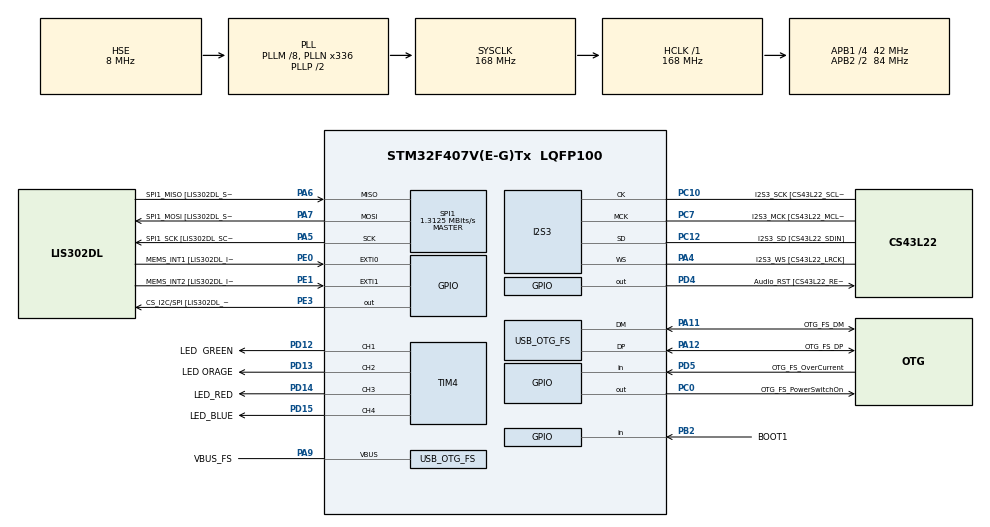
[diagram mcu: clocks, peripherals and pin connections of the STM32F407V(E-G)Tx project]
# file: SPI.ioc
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I2S3.AudioFreq-Half_Duplex_Master=I2S_AUDIOFREQ_96K
I2S3.ErrorAudioFreq=-2.34 %
I2S3.ErrorAudioFreq-Half_Duplex_Master=0.8 %
I2S3.FullDuplexMode=I2S_FULLDUPLEXMODE_DISABLE
I2S3.Instance=SPI$Index
I2S3.RealAudioFreq=93.75 KHz
I2S3.RealAudioFreq-Half_Duplex_Master=96.774 KHz
I2S3.VirtualMode=I2S_MODE_MASTER
Mcu.Family=STM32F4
Mcu.Name=STM32F407V(E-G)Tx
Mcu.Package=LQFP100
NVIC.EXTI0_IRQn=true\:0\:0\:false\:false\:true\:true\:true\:true
NVIC.EXTI1_IRQn=true\:0\:0\:false\:false\:true\:true\:true\:true
NVIC.OTG_FS_IRQn=true\:0\:0\:false\:false\:true\:true\:true\:true
NVIC.PriorityGroup=NVIC_PRIORITYGROUP_0
PA10.GPIO_Label=OTG_FS_ID
PA10.GPIO_Mode=GPIO_MODE_AF_PP
PA10.GPIO_PuPd=GPIO_NOPULL
PA10.GPIO_Speed=GPIO_SPEED_FREQ_LOW
PA10.Signal=USB_OTG_FS_ID
PA11.GPIO_Label=OTG_FS_DM
PA11.GPIO_Mode=GPIO_MODE_AF_PP
PA11.GPIO_PuPd=GPIO_NOPULL
PA11.GPIO_Speed=GPIO_SPEED_FREQ_LOW
PA11.Mode=Host_Only
PA11.Signal=USB_OTG_FS_DM
PA12.GPIO_Label=OTG_FS_DP
PA12.GPIO_Mode=GPIO_MODE_AF_PP
PA12.GPIO_PuPd=GPIO_NOPULL
PA12.GPIO_Speed=GPIO_SPEED_FREQ_LOW
PA12.Mode=Host_Only
PA12.Signal=USB_OTG_FS_DP
PA13.GPIO_Label=SWDIO
PA13.Mode=Serial_Wire
PA13.Signal=SYS_JTMS-SWDIO
PA14.GPIO_Label=SWCLK
PA14.Mode=Serial_Wire
PA14.Signal=SYS_JTCK-SWCLK
PA4.GPIO_Label=I2S3_WS [CS43L22_LRCK]
PA4.GPIO_Mode=GPIO_MODE_AF_PP
PA4.GPIO_PuPd=GPIO_NOPULL
PA4.GPIO_Speed=GPIO_SPEED_FREQ_LOW
PA4.Mode=Half_Duplex_Master
PA4.Signal=I2S3_WS
PA5.GPIO_Label=SPI1_SCK [LIS302DL_SCL/SPC]
PA5.GPIO_Mode=GPIO_MODE_AF_PP
PA5.GPIO_PuPd=GPIO_NOPULL
PA5.GPIO_Speed=GPIO_SPEED_FREQ_VERY_HIGH
PA5.Mode=Full_Duplex_Master
PA5.Signal=SPI1_SCK
PA6.GPIO_Label=SPI1_MISO [LIS302DL_SDO]
PA6.GPIO_Mode=GPIO_MODE_AF_PP
PA6.GPIO_PuPd=GPIO_NOPULL
PA6.GPIO_Speed=GPIO_SPEED_FREQ_LOW
PA6.Mode=Full_Duplex_Master
PA6.Signal=SPI1_MISO
PA7.GPIO_Label=SPI1_MOSI [LIS302DL_SDA/SDI/SDO]
PA7.GPIO_Mode=GPIO_MODE_AF_PP
PA7.GPIO_PuPd=GPIO_NOPULL
PA7.GPIO_Speed=GPIO_SPEED_FREQ_LOW
PA7.Mode=Full_Duplex_Master
PA7.Signal=SPI1_MOSI
PA9.GPIO_Label=VBUS_FS
PA9.GPIO_Mode=GPIO_MODE_INPUT
PA9.GPIO_PuPd=GPIO_NOPULL
PA9.Mode=Activate_VBUS
PA9.Signal=USB_OTG_FS_VBUS
PB10.GPIO_Label=CLK_IN [MP45DT02_CLK]
PB10.GPIO_Mode=GPIO_MODE_AF_PP
PB10.GPIO_PuPd=GPIO_NOPULL
PB10.GPIO_Speed=GPIO_SPEED_FREQ_LOW
PB10.Signal=I2S2_CK
PB2.GPIO_Label=BOOT1
PB2.GPIO_Mode=GPIO_MODE_INPUT
PB2.GPIO_PuPd=GPIO_NOPULL
PB2.Signal=GPIO_Input
PB3.GPIO_Label=SWO
PB3.Signal=SYS_JTDO-SWO
PB6.GPIO_Label=Audio_SCL [CS43L22_SCL]
PB6.GPIO_Mode=GPIO_MODE_AF_OD
PB6.GPIO_Pu=GPIO_PULLUP
PB6.GPIO_PuPd=GPIO_NOPULL
PB6.GPIO_Speed=GPIO_SPEED_FREQ_LOW
PB6.Signal=I2C1_SCL
PB9.GPIO_Label=Audio_SDA [CS43L22_SDA]
PB9.GPIO_Mode=GPIO_MODE_AF_OD
PB9.GPIO_Pu=GPIO_PULLUP
PB9.GPIO_PuPd=GPIO_NOPULL
PB9.GPIO_Speed=GPIO_SPEED_FREQ_LOW
PB9.Signal=I2C1_SDA
PC0.GPIO_Label=OTG_FS_PowerSwitchOn
PC0.GPIO_PuPd=GPIO_NOPULL
PC0.GPIO_Speed=GPIO_SPEED_FREQ_LOW
PC0.PinState=GPIO_PIN_SET
PC0.Signal=GPIO_Output
PC10.GPIO_Label=I2S3_SCK [CS43L22_SCLK]
PC10.GPIO_Mode=GPIO_MODE_AF_PP
PC10.GPIO_PuPd=GPIO_NOPULL
PC10.GPIO_Speed=GPIO_SPEED_FREQ_LOW
PC10.Mode=Half_Duplex_Master
PC10.Signal=I2S3_CK
PC12.GPIO_Label=I2S3_SD [CS43L22_SDIN]
PC12.GPIO_Mode=GPIO_MODE_AF_PP
PC12.GPIO_PuPd=GPIO_NOPULL
PC12.GPIO_Speed=GPIO_SPEED_FREQ_LOW
PC12.Mode=Half_Duplex_Master
PC12.Signal=I2S3_SD
PC14-OSC32_IN.GPIO_Label=PC14-OSC32_IN
PC14-OSC32_IN.Mode=LSE-External-Oscillator
PC14-OSC32_IN.Signal=RCC_OSC32_IN
PC15-OSC32_OUT.GPIO_Label=PC15-OSC32_OUT
PC15-OSC32_OUT.Mode=LSE-External-Oscillator
PC15-OSC32_OUT.Signal=RCC_OSC32_OUT
PC3.GPIO_Label=PDM_OUT [MP45DT02_DOUT]
PC3.GPIO_Mode=GPIO_MODE_AF_PP
PC3.GPIO_PuPd=GPIO_NOPULL
PC3.GPIO_Speed=GPIO_SPEED_FREQ_LOW
PC3.Signal=I2S2_SD
PC7.GPIO_Label=I2S3_MCK [CS43L22_MCLK]
PC7.GPIO_Mode=GPIO_MODE_AF_PP
PC7.GPIO_PuPd=GPIO_NOPULL
PC7.GPIO_Speed=GPIO_SPEED_FREQ_LOW
PC7.Mode=Master_Clock_Activated
PC7.Signal=I2S3_MCK
PD12.GPIO_Label=LED  GREEN
PD12.Signal=S_TIM4_CH1
PD13.GPIO_Label=LED ORAGE
PD13.Signal=S_TIM4_CH2
PD14.GPIO_Label=LED_RED
PD14.Signal=S_TIM4_CH3
PD15.GPIO_Label=LED_BLUE
PD15.Signal=S_TIM4_CH4
PD4.GPIO_Label=Audio_RST [CS43L22_RESET]
PD4.GPIO_PuPd=GPIO_NOPULL
PD4.GPIO_Speed=GPIO_SPEED_FREQ_LOW
PD4.Signal=GPIO_Output
PD5.GPIO_Label=OTG_FS_OverCurrent
PD5.GPIO_Mode=GPIO_MODE_INPUT
PD5.GPIO_PuPd=GPIO_NOPULL
PD5.Signal=GPIO_Input
PE0.GPIO_Label=MEMS_INT1 [LIS302DL_INT1]
PE0.GPIO_ModeDefaultEXTI=GPIO_MODE_IT_RISING
PE0.Signal=GPXTI0
PE1.GPIO_Label=MEMS_INT2 [LIS302DL_INT2]
PE1.GPIO_ModeDefaultEXTI=GPIO_MODE_IT_RISING
PE1.GPIO_PuPd=GPIO_NOPULL
PE1.Signal=GPXTI1
PE3.GPIO_Label=CS_I2C/SPI [LIS302DL_CS_I2C/SPI]
PE3.GPIO_PuPd=GPIO_NOPULL
PE3.GPIO_Speed=GPIO_SPEED_FREQ_LOW
PE3.PinState=GPIO_PIN_SET
PE3.Signal=GPIO_Output
PH0-OSC_IN.GPIO_Label=PH0-OSC_IN
PH0-OSC_IN.Mode=HSE-External-Oscillator
PH0-OSC_IN.Signal=RCC_OSC_IN
PH1-OSC_OUT.GPIO_Label=PH1-OSC_OUT
PH1-OSC_OUT.Mode=HSE-External-Oscillator
PH1-OSC_OUT.Signal=RCC_OSC_OUT
ProjectManager.HeapSize=0x200
ProjectManager.StackSize=0x400
ProjectManager.TargetToolchain=CMake
RCC.48MHZClocksFreq_Value=48000000
RCC.AHBFreq_Value=168000000
RCC.APB1CLKDivider=RCC_HCLK_DIV4
RCC.APB1Freq_Value=42000000
RCC.APB1TimFreq_Value=84000000
RCC.APB2CLKDivider=RCC_HCLK_DIV2
RCC.APB2Freq_Value=84000000
RCC.APB2TimFreq_Value=168000000
RCC.CortexFreq_Value=168000000
RCC.HCLKFreq_Value=168000000
RCC.HSE_VALUE=8000000
RCC.HSI_VALUE=16000000
RCC.PLLM=8
RCC.PLLN=336
RCC.PLLQ=7
RCC.SYSCLKFreq_VALUE=168000000
RCC.SYSCLKSource=RCC_SYSCLKSOURCE_PLLCLK
RCC.VCOOutputFreq_Value=336000000
SH.S_TIM4_CH1.0=TIM4_CH1,PWM Generation1 CH1
SH.S_TIM4_CH2.0=TIM4_CH2,PWM Generation2 CH2
SH.S_TIM4_CH3.0=TIM4_CH3,PWM Generation3 CH3
SH.S_TIM4_CH4.0=TIM4_CH4,PWM Generation4 CH4
SPI1.BaudRatePrescaler=SPI_BAUDRATEPRESCALER_64
SPI1.BaudRatePrescaler-Full_Duplex_Master=SPI_BAUDRATEPRESCALER_2
SPI1.CLKPhase=SPI_PHASE_2EDGE
SPI1.CLKPolarity=SPI_POLARITY_HIGH
SPI1.CalculateBaudRate=1.3125 MBits/s
SPI1.CalculateBaudRate-Full_Duplex_Master=42.0 MBits/s
SPI1.Direction=SPI_DIRECTION_2LINES
SPI1.Mode=SPI_MODE_MASTER
SPI1.Mode-Full_Duplex_Master=SPI_MODE_MASTER
SPI1.VirtualType=VM_MASTER
TIM4.Channel-PWM\ Generation1\ CH1=TIM_CHANNEL_1
TIM4.Channel-PWM\ Generation2\ CH2=TIM_CHANNEL_2
TIM4.Channel-PWM\ Generation3\ CH3=TIM_CHANNEL_3
TIM4.Channel-PWM\ Generation4\ CH4=TIM_CHANNEL_4
USB_HOST.BSP.number=1
USB_HOST.USBH_HandleTypeDef-CDC_FS=hUsbHostFS
USB_HOST.VirtualModeFS=Cdc
USB_HOST0.BSP.STBoard=false
USB_HOST0.BSP.api=Unknown
USB_HOST0.BSP.instance=PC0
USB_HOST0.BSP.ip=GPIO
USB_HOST0.BSP.mode=Output
USB_HOST0.BSP.name=Drive_VBUS_FS
USB_HOST0.BSP.solution=PC0
USB_OTG_FS.VirtualMode=Host_Only
USB_OTG_FS.phy_itface=HCD_PHY_EMBEDDED
VP_TIM4_VS_ClockSourceINT.Mode=Internal
VP_USB_HOST_VS_USB_HOST_CDC_FS.Mode=CDC_FS
board=STM32F407G-DISC1

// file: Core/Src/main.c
/* USER CODE BEGIN Header */
/**
  ******************************************************************************
  * @file           : main.c
  * @brief          : Main program body
  ******************************************************************************
  * @attention
  *
  * Copyright (c) 2026 STMicroelectronics.
  * All rights reserved.
  *
  * This software is licensed under terms that can be found in the LICENSE file
  * in the root directory of this software component.
  * If no LICENSE file comes with this software, it is provided AS-IS.
  *
  ******************************************************************************
  */
/* USER CODE END Header */
#include "main.h"
#include "usb_host.h"

/* USER CODE BEGIN Includes */
#include "accelerometer_functions.h"
#include "LED/LED_interface.h"
#include "LIS3DSHTR_driver/LIS3DSHTR_Registers.h"
/* USER CODE END Includes */

I2S_HandleTypeDef hi2s3;

SPI_HandleTypeDef hspi1;

TIM_HandleTypeDef htim4;

void SystemClock_Config(void);
static void MX_GPIO_Init(void);
static void MX_I2S3_Init(void);
static void MX_SPI1_Init(void);
static void MX_TIM4_Init(void);
void MX_USB_HOST_Process(void);

/* USER CODE BEGIN 0 */
LIS3DSHTR_HandleTypeDef lis302dl_handle = {
    .hspi = &hspi1,
    .cs_port = CS_I2C_SPI_GPIO_Port,
    .cs_pin = CS_I2C_SPI_Pin,
    .data = {0} // Initialize the local shadow copy of the registers to zero
};
/* USER CODE END 0 */

int main(void)
{

  /* MCU Configuration--------------------------------------------------------*/

  /* Reset of all peripherals, Initializes the Flash interface and the Systick. */
  HAL_Init();

  /* Configure the system clock */
  SystemClock_Config();

  /* Initialize all configured peripherals */
  MX_GPIO_Init();
  MX_I2S3_Init();
  MX_SPI1_Init();
  MX_USB_HOST_Init();
  MX_TIM4_Init();
  /* USER CODE BEGIN 2 */
  LIS3DSHTR_SPI_ReadRegs(&lis302dl_handle, LIS3DSH_REG_WHO_AM_I, 1);
  LED_Init(&htim4);
  LIS3DSH_Init(&lis302dl_handle, LIS3DSH_DATA_RATE_100_HZ);

  /* USER CODE END 2 */

  /* Infinite loop */
  while (1)
  {
    MX_USB_HOST_Process();

    /* USER CODE BEGIN 3 */
    if(new_data_available){
        new_data_available = 0; // reset the flag
        HAL_StatusTypeDef status = Accelerometer_Read(&lis302dl_handle);
        if(status != HAL_OK) {
            // Handle error (e.g., log it, retry, etc.)
        }
        uint16_t ax = lis302dl_handle.data.OUT_REGS.OUT_X_H;
        ax = (ax << 8) | lis302dl_handle.data.OUT_REGS.OUT_X_L;

        uint16_t ay = lis302dl_handle.data.OUT_REGS.OUT_Y_H;
        ay = (ay << 8) | lis302dl_handle.data.OUT_REGS.OUT_Y_L;

        uint16_t az = lis302dl_handle.data.OUT_REGS.OUT_Z_H;
        az = (az << 8) | lis302dl_handle.data.OUT_REGS.OUT_Z_L;

        LED_Angles_Update(ax, ay, az, &htim4);

        NVIC_EnableIRQ(EXTI0_IRQn); // Re-enable the interrupt for the next data-ready event
    }
  }
  /* USER CODE END 3 */
}

void SystemClock_Config(void)
{
  RCC_OscInitTypeDef RCC_OscInitStruct = {0};
  RCC_ClkInitTypeDef RCC_ClkInitStruct = {0};

  /** Configure the main internal regulator output voltage
  */
  __HAL_RCC_PWR_CLK_ENABLE();
  __HAL_PWR_VOLTAGESCALING_CONFIG(PWR_REGULATOR_VOLTAGE_SCALE1);

  /** Initializes the RCC Oscillators according to the specified parameters
  * in the RCC_OscInitTypeDef structure.
  */
  RCC_OscInitStruct.OscillatorType = RCC_OSCILLATORTYPE_HSE;
  RCC_OscInitStruct.HSEState = RCC_HSE_ON;
  RCC_OscInitStruct.PLL.PLLState = RCC_PLL_ON;
  RCC_OscInitStruct.PLL.PLLSource = RCC_PLLSOURCE_HSE;
  RCC_OscInitStruct.PLL.PLLM = 8;
  RCC_OscInitStruct.PLL.PLLN = 336;
  RCC_OscInitStruct.PLL.PLLP = RCC_PLLP_DIV2;
  RCC_OscInitStruct.PLL.PLLQ = 7;
  if (HAL_RCC_OscConfig(&RCC_OscInitStruct) != HAL_OK)
  {
    Error_Handler();
  }

  /** Initializes the CPU, AHB and APB buses clocks
  */
  RCC_ClkInitStruct.ClockType = RCC_CLOCKTYPE_HCLK|RCC_CLOCKTYPE_SYSCLK
                              |RCC_CLOCKTYPE_PCLK1|RCC_CLOCKTYPE_PCLK2;
  RCC_ClkInitStruct.SYSCLKSource = RCC_SYSCLKSOURCE_PLLCLK;
  RCC_ClkInitStruct.AHBCLKDivider = RCC_SYSCLK_DIV1;
  RCC_ClkInitStruct.APB1CLKDivider = RCC_HCLK_DIV4;
  RCC_ClkInitStruct.APB2CLKDivider = RCC_HCLK_DIV2;

  if (HAL_RCC_ClockConfig(&RCC_ClkInitStruct, FLASH_LATENCY_5) != HAL_OK)
  {
    Error_Handler();
  }
}

static void MX_I2S3_Init(void)
{

  hi2s3.Instance = SPI3;
  hi2s3.Init.Mode = I2S_MODE_MASTER_TX;
  hi2s3.Init.Standard = I2S_STANDARD_PHILIPS;
  hi2s3.Init.DataFormat = I2S_DATAFORMAT_16B;
  hi2s3.Init.MCLKOutput = I2S_MCLKOUTPUT_ENABLE;
  hi2s3.Init.AudioFreq = I2S_AUDIOFREQ_96K;
  hi2s3.Init.CPOL = I2S_CPOL_LOW;
  hi2s3.Init.ClockSource = I2S_CLOCK_PLL;
  hi2s3.Init.FullDuplexMode = I2S_FULLDUPLEXMODE_DISABLE;
  if (HAL_I2S_Init(&hi2s3) != HAL_OK)
  {
    Error_Handler();
  }

}

static void MX_SPI1_Init(void)
{

  /* SPI1 parameter configuration*/
  hspi1.Instance = SPI1;
  hspi1.Init.Mode = SPI_MODE_MASTER;
  hspi1.Init.Direction = SPI_DIRECTION_2LINES;
  hspi1.Init.DataSize = SPI_DATASIZE_8BIT;
  hspi1.Init.CLKPolarity = SPI_POLARITY_HIGH;
  hspi1.Init.CLKPhase = SPI_PHASE_2EDGE;
  hspi1.Init.NSS = SPI_NSS_SOFT;
  hspi1.Init.BaudRatePrescaler = SPI_BAUDRATEPRESCALER_64;
  hspi1.Init.FirstBit = SPI_FIRSTBIT_MSB;
  hspi1.Init.TIMode = SPI_TIMODE_DISABLE;
  hspi1.Init.CRCCalculation = SPI_CRCCALCULATION_DISABLE;
  hspi1.Init.CRCPolynomial = 10;
  if (HAL_SPI_Init(&hspi1) != HAL_OK)
  {
    Error_Handler();
  }

}

static void MX_TIM4_Init(void)
{

  TIM_ClockConfigTypeDef sClockSourceConfig = {0};
  TIM_MasterConfigTypeDef sMasterConfig = {0};
  TIM_OC_InitTypeDef sConfigOC = {0};

  htim4.Instance = TIM4;
  htim4.Init.Prescaler = 0;
  htim4.Init.CounterMode = TIM_COUNTERMODE_UP;
  htim4.Init.Period = 65535;
  htim4.Init.ClockDivision = TIM_CLOCKDIVISION_DIV1;
  htim4.Init.AutoReloadPreload = TIM_AUTORELOAD_PRELOAD_DISABLE;
  if (HAL_TIM_Base_Init(&htim4) != HAL_OK)
  {
    Error_Handler();
  }
  sClockSourceConfig.ClockSource = TIM_CLOCKSOURCE_INTERNAL;
  if (HAL_TIM_ConfigClockSource(&htim4, &sClockSourceConfig) != HAL_OK)
  {
    Error_Handler();
  }
  if (HAL_TIM_PWM_Init(&htim4) != HAL_OK)
  {
    Error_Handler();
  }
  sMasterConfig.MasterOutputTrigger = TIM_TRGO_RESET;
  sMasterConfig.MasterSlaveMode = TIM_MASTERSLAVEMODE_DISABLE;
  if (HAL_TIMEx_MasterConfigSynchronization(&htim4, &sMasterConfig) != HAL_OK)
  {
    Error_Handler();
  }
  sConfigOC.OCMode = TIM_OCMODE_PWM1;
  sConfigOC.Pulse = 0;
  sConfigOC.OCPolarity = TIM_OCPOLARITY_HIGH;
  sConfigOC.OCFastMode = TIM_OCFAST_DISABLE;
  if (HAL_TIM_PWM_ConfigChannel(&htim4, &sConfigOC, TIM_CHANNEL_1) != HAL_OK)
  {
    Error_Handler();
  }
  if (HAL_TIM_PWM_ConfigChannel(&htim4, &sConfigOC, TIM_CHANNEL_2) != HAL_OK)
  {
    Error_Handler();
  }
  if (HAL_TIM_PWM_ConfigChannel(&htim4, &sConfigOC, TIM_CHANNEL_3) != HAL_OK)
  {
    Error_Handler();
  }
  if (HAL_TIM_PWM_ConfigChannel(&htim4, &sConfigOC, TIM_CHANNEL_4) != HAL_OK)
  {
    Error_Handler();
  }
  HAL_TIM_MspPostInit(&htim4);

}

static void MX_GPIO_Init(void)
{
  GPIO_InitTypeDef GPIO_InitStruct = {0};

  /* GPIO Ports Clock Enable */
  __HAL_RCC_GPIOE_CLK_ENABLE();
  __HAL_RCC_GPIOC_CLK_ENABLE();
  __HAL_RCC_GPIOH_CLK_ENABLE();
  __HAL_RCC_GPIOA_CLK_ENABLE();
  __HAL_RCC_GPIOB_CLK_ENABLE();
  __HAL_RCC_GPIOD_CLK_ENABLE();

  /*Configure GPIO pin Output Level */
  HAL_GPIO_WritePin(CS_I2C_SPI_GPIO_Port, CS_I2C_SPI_Pin, GPIO_PIN_SET);

  /*Configure GPIO pin Output Level */
  HAL_GPIO_WritePin(OTG_FS_PowerSwitchOn_GPIO_Port, OTG_FS_PowerSwitchOn_Pin, GPIO_PIN_SET);

  /*Configure GPIO pin Output Level */
  HAL_GPIO_WritePin(Audio_RST_GPIO_Port, Audio_RST_Pin, GPIO_PIN_RESET);

  /*Configure GPIO pin : CS_I2C_SPI_Pin */
  GPIO_InitStruct.Pin = CS_I2C_SPI_Pin;
  GPIO_InitStruct.Mode = GPIO_MODE_OUTPUT_PP;
  GPIO_InitStruct.Pull = GPIO_NOPULL;
  GPIO_InitStruct.Speed = GPIO_SPEED_FREQ_LOW;
  HAL_GPIO_Init(CS_I2C_SPI_GPIO_Port, &GPIO_InitStruct);

  /*Configure GPIO pin : OTG_FS_PowerSwitchOn_Pin */
  GPIO_InitStruct.Pin = OTG_FS_PowerSwitchOn_Pin;
  GPIO_InitStruct.Mode = GPIO_MODE_OUTPUT_PP;
  GPIO_InitStruct.Pull = GPIO_NOPULL;
  GPIO_InitStruct.Speed = GPIO_SPEED_FREQ_LOW;
  HAL_GPIO_Init(OTG_FS_PowerSwitchOn_GPIO_Port, &GPIO_InitStruct);

  /*Configure GPIO pin : PDM_OUT_Pin */
  GPIO_InitStruct.Pin = PDM_OUT_Pin;
  GPIO_InitStruct.Mode = GPIO_MODE_AF_PP;
  GPIO_InitStruct.Pull = GPIO_NOPULL;
  GPIO_InitStruct.Speed = GPIO_SPEED_FREQ_LOW;
  GPIO_InitStruct.Alternate = GPIO_AF5_SPI2;
  HAL_GPIO_Init(PDM_OUT_GPIO_Port, &GPIO_InitStruct);

  /*Configure GPIO pin : BOOT1_Pin */
  GPIO_InitStruct.Pin = BOOT1_Pin;
  GPIO_InitStruct.Mode = GPIO_MODE_INPUT;
  GPIO_InitStruct.Pull = GPIO_NOPULL;
  HAL_GPIO_Init(BOOT1_GPIO_Port, &GPIO_InitStruct);

  /*Configure GPIO pin : CLK_IN_Pin */
  GPIO_InitStruct.Pin = CLK_IN_Pin;
  GPIO_InitStruct.Mode = GPIO_MODE_AF_PP;
  GPIO_InitStruct.Pull = GPIO_NOPULL;
  GPIO_InitStruct.Speed = GPIO_SPEED_FREQ_LOW;
  GPIO_InitStruct.Alternate = GPIO_AF5_SPI2;
  HAL_GPIO_Init(CLK_IN_GPIO_Port, &GPIO_InitStruct);

  /*Configure GPIO pin : Audio_RST_Pin */
  GPIO_InitStruct.Pin = Audio_RST_Pin;
  GPIO_InitStruct.Mode = GPIO_MODE_OUTPUT_PP;
  GPIO_InitStruct.Pull = GPIO_NOPULL;
  GPIO_InitStruct.Speed = GPIO_SPEED_FREQ_LOW;
  HAL_GPIO_Init(Audio_RST_GPIO_Port, &GPIO_InitStruct);

  /*Configure GPIO pin : OTG_FS_OverCurrent_Pin */
  GPIO_InitStruct.Pin = OTG_FS_OverCurrent_Pin;
  GPIO_InitStruct.Mode = GPIO_MODE_INPUT;
  GPIO_InitStruct.Pull = GPIO_NOPULL;
  HAL_GPIO_Init(OTG_FS_OverCurrent_GPIO_Port, &GPIO_InitStruct);

  /*Configure GPIO pins : Audio_SCL_Pin Audio_SDA_Pin */
  GPIO_InitStruct.Pin = Audio_SCL_Pin|Audio_SDA_Pin;
  GPIO_InitStruct.Mode = GPIO_MODE_AF_OD;
  GPIO_InitStruct.Pull = GPIO_PULLUP;
  GPIO_InitStruct.Speed = GPIO_SPEED_FREQ_LOW;
  GPIO_InitStruct.Alternate = GPIO_AF4_I2C1;
  HAL_GPIO_Init(GPIOB, &GPIO_InitStruct);

  /*Configure GPIO pins : MEMS_INT1_Pin MEMS_INT2_Pin */
  GPIO_InitStruct.Pin = MEMS_INT1_Pin|MEMS_INT2_Pin;
  GPIO_InitStruct.Mode = GPIO_MODE_IT_RISING;
  GPIO_InitStruct.Pull = GPIO_NOPULL;
  HAL_GPIO_Init(GPIOE, &GPIO_InitStruct);

  /* EXTI interrupt init*/
  HAL_NVIC_SetPriority(EXTI0_IRQn, 0, 0);
  HAL_NVIC_EnableIRQ(EXTI0_IRQn);

  HAL_NVIC_SetPriority(EXTI1_IRQn, 0, 0);
  HAL_NVIC_EnableIRQ(EXTI1_IRQn);

}

void Error_Handler(void)
{
  __disable_irq();
  while (1)
  {
  }
}
